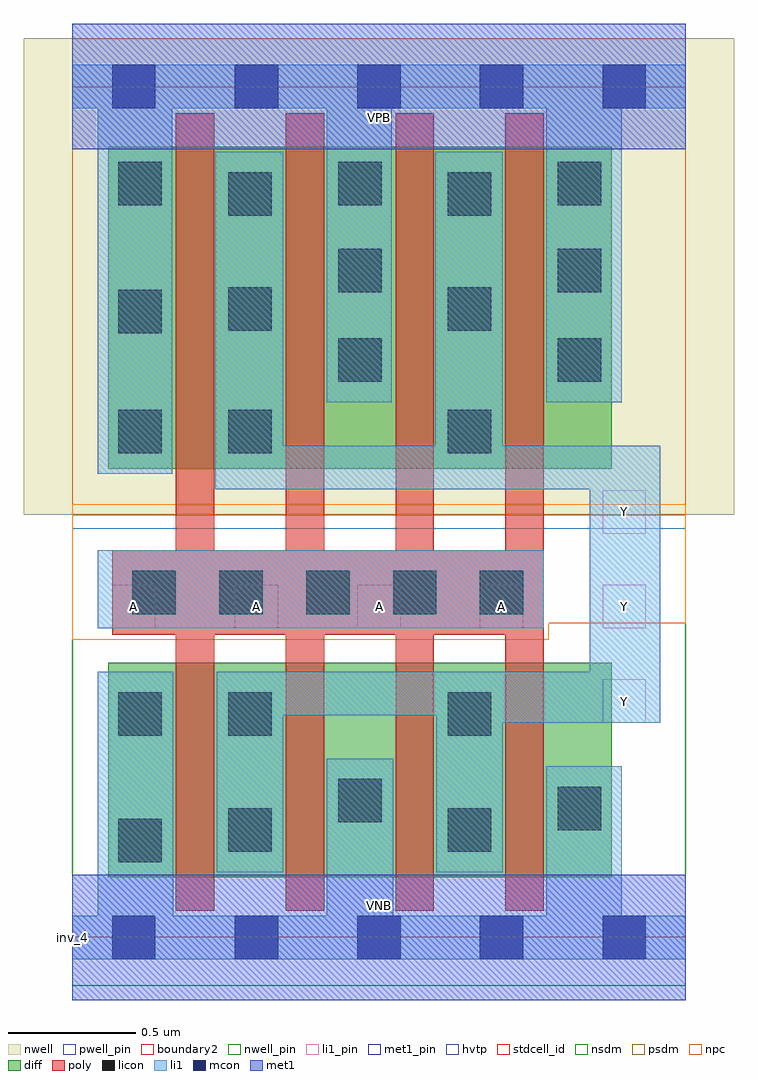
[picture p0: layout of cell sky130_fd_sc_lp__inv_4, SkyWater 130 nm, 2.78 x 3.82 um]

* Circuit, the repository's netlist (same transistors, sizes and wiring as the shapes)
* Copyright 2020 The SkyWater PDK Authors
*
* Licensed under the Apache License, Version 2.0 (the "License");
* you may not use this file except in compliance with the License.
* You may obtain a copy of the License at
*
*     https://www.apache.org/licenses/LICENSE-2.0
*
* Unless required by applicable law or agreed to in writing, software
* distributed under the License is distributed on an "AS IS" BASIS,
* WITHOUT WARRANTIES OR CONDITIONS OF ANY KIND, either express or implied.
* See the License for the specific language governing permissions and
* limitations under the License.
*
* SPDX-License-Identifier: Apache-2.0

.SUBCKT sky130_fd_sc_lp__inv_4 A VGND VNB VPB VPWR Y
*.PININFO A:I VGND:I VNB:I VPB:I VPWR:I Y:O
MMIP1 Y A VPWR VPB sky130_fd_pr__pfet_01v8_hvt m=4 w=1.26U l=0.15U mult=1 sa=0.265
+ sb=0.265 sd=0.28 area=0.063 perim=1.14
MMIN1 Y A VGND VNB sky130_fd_pr__nfet_01v8 m=4 w=0.84U l=0.15U mult=1 sa=0.265
+ sb=0.265 sd=0.28 area=0.063 perim=1.14
.ENDS sky130_fd_sc_lp__inv_4

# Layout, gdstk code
import gdstk
lib = gdstk.Library(unit=1e-6, precision=1e-09)
def R(c, l, rs):  # rectangles x0, y0, x1, y1
    for r in rs: c.add(gdstk.rectangle(r[:2], r[2:], *l))
def A(c, l, x, y, w, h, nx, ny, dx, dy):  # array of equal rectangles
    R(c, l, [(x+i*dx, y+j*dy, x+i*dx+w, y+j*dy+h) for i in range(nx) for j in range(ny)])
def P(c, l, *ps):  # polygons
    for p in ps: c.add(gdstk.Polygon(p, *l))
nwell_pin = (64, 16)
nwell = (64, 20)
diff = (65, 20)
poly = (66, 20)
licon = (66, 44)
li1_pin = (67, 16)
li1 = (67, 20)
mcon = (67, 44)
met1_pin = (68, 16)
met1 = (68, 20)
hvtp = (78, 44)
stdcell_id = (81, 4)
nsdm = (93, 44)
psdm = (94, 20)
npc = (95, 20)
pwell_pin = (122, 16)
boundary2 = (236, 0)

sky130_fd_sc_lp__inv_4 = lib.new_cell('sky130_fd_sc_lp__inv_4')
R(sky130_fd_sc_lp__inv_4, nwell_pin, [(0,3.085,2.4,3.33)])
R(sky130_fd_sc_lp__inv_4, nwell, [(-0.19,1.655,2.59,3.52)])
R(sky130_fd_sc_lp__inv_4, diff, [(0.14,0.235,2.11,1.075), (0.14,1.835,2.11,3.095)])
P(sky130_fd_sc_lp__inv_4, poly, [(1.845,3.225),(1.695,3.225),(1.695,1.515),(1.415,1.515),(1.415,3.225),(1.265,3.225),(1.265,1.515),(0.985,1.515),(0.985,3.225),(0.835,3.225),(0.835,1.515),(0.555,1.515),(0.555,3.225),(0.405,3.225),(0.405,1.515),(0.155,1.515),(0.155,1.185),(0.405,1.185),(0.405,0.105),(0.555,0.105),(0.555,1.185),(0.835,1.185),(0.835,0.105),(0.985,0.105),(0.985,1.185),(1.265,1.185),(1.265,0.105),(1.415,0.105),(1.415,1.185),(1.695,1.185),(1.695,0.105),(1.845,0.105)])
A(sky130_fd_sc_lp__inv_4, licon, 0.235, 1.265, 0.17, 0.17, 5, 1, 0.34, 0)
A(sky130_fd_sc_lp__inv_4, licon, 0.18, 2.865, 0.17, 0.17, 3, 1, 0.86, 0)
R(sky130_fd_sc_lp__inv_4, licon, [(0.18,0.295,0.35,0.465), (0.61,0.335,0.78,0.505), (1.47,0.335,1.64,0.505), (1.9,0.42,2.07,0.59), (1.04,0.45,1.21,0.62), (0.18,0.79,0.35,0.96), (0.61,0.79,0.78,0.96), (1.47,0.79,1.64,0.96), (0.18,1.895,0.35,2.065), (0.61,1.895,0.78,2.065), (1.47,1.895,1.64,2.065), (1.04,2.175,1.21,2.345), (1.9,2.175,2.07,2.345), (0.18,2.365,0.35,2.535), (0.61,2.375,0.78,2.545), (1.47,2.375,1.64,2.545), (1.04,2.525,1.21,2.695), (1.9,2.525,2.07,2.695), (0.61,2.825,0.78,2.995), (1.47,2.825,1.64,2.995)])
A(sky130_fd_sc_lp__inv_4, li1_pin, 0.155, 1.21, 0.17, 0.17, 5, 1, 0.48, 0)
R(sky130_fd_sc_lp__inv_4, li1_pin, [(2.075,0.84,2.245,1.01), (2.075,1.58,2.245,1.75)])
R(sky130_fd_sc_lp__inv_4, li1, [(0.1,1.21,1.845,1.515)])
P(sky130_fd_sc_lp__inv_4, li1, [(0.995,2.095),(0.995,3.245),(0.39,3.245),(0.39,1.815),(0.1,1.815),(0.1,3.245),(0,3.245),(0,3.415),(2.4,3.415),(2.4,3.245),(2.15,3.245),(2.15,2.095),(1.855,2.095),(1.855,3.245),(1.25,3.245),(1.25,2.095)],
  [(1.855,0.085),(1.855,0.67),(2.15,0.67),(2.15,0.085),(2.4,0.085),(2.4,-0.085),(0,-0.085),(0,0.085),(0.1,0.085),(0.1,1.04),(0.395,1.04),(0.395,0.085),(0.995,0.085),(0.995,0.7),(1.255,0.7),(1.255,0.085)],
  [(0.825,1.925),(1.42,1.925),(1.42,3.075),(1.685,3.075),(1.685,1.925),(2.3,1.925),(2.3,0.84),(1.685,0.84),(1.685,0.255),(1.425,0.255),(1.425,0.87),(0.825,0.87),(0.825,0.255),(0.565,0.255),(0.565,1.04),(2.025,1.04),(2.025,1.755),(0.56,1.755),(0.56,3.075),(0.825,3.075)])
A(sky130_fd_sc_lp__inv_4, mcon, 0.155, -0.085, 0.17, 0.17, 5, 2, 0.48, 3.33)
R(sky130_fd_sc_lp__inv_4, met1_pin, [(0,0,2.4,0.245), (0,3.085,2.4,3.33)])
R(sky130_fd_sc_lp__inv_4, met1, [(0,-0.245,2.4,0.245), (0,3.085,2.4,3.575)])
R(sky130_fd_sc_lp__inv_4, hvtp, [(0,1.6,2.4,3.33)])
R(sky130_fd_sc_lp__inv_4, stdcell_id, [(0,0,2.4,3.33)])
R(sky130_fd_sc_lp__inv_4, nsdm, [(0,-0.19,2.4,1.655)])
R(sky130_fd_sc_lp__inv_4, psdm, [(0,1.655,2.4,3.52)])
P(sky130_fd_sc_lp__inv_4, npc, [(2.4,1.695),(0,1.695),(0,1.165),(1.865,1.165),(1.865,1.23),(2.4,1.23)])
R(sky130_fd_sc_lp__inv_4, pwell_pin, [(0,0,2.4,0.245)])
R(sky130_fd_sc_lp__inv_4, boundary2, [(0,0,2.4,3.33)])
sky130_fd_sc_lp__inv_4.add(gdstk.Label('VNB', (1.2,0.123), layer=64, texttype=59))
sky130_fd_sc_lp__inv_4.add(gdstk.Label('VPB', (1.2,3.208), layer=64, texttype=5))
sky130_fd_sc_lp__inv_4.add(gdstk.Label('inv_4', (0,0), layer=83, texttype=44))
sky130_fd_sc_lp__inv_4.add(gdstk.Label('VPWR', (1.2,3.208), layer=68, texttype=5))
sky130_fd_sc_lp__inv_4.add(gdstk.Label('VGND', (1.2,0.123), layer=68, texttype=5))
sky130_fd_sc_lp__inv_4.add(gdstk.Label('A', (0.24,1.295), layer=67, texttype=5))
sky130_fd_sc_lp__inv_4.add(gdstk.Label('A', (0.72,1.295), layer=67, texttype=5))
sky130_fd_sc_lp__inv_4.add(gdstk.Label('A', (1.2,1.295), layer=67, texttype=5))
sky130_fd_sc_lp__inv_4.add(gdstk.Label('A', (1.68,1.295), layer=67, texttype=5))
sky130_fd_sc_lp__inv_4.add(gdstk.Label('Y', (2.16,0.925), layer=67, texttype=5))
sky130_fd_sc_lp__inv_4.add(gdstk.Label('Y', (2.16,1.295), layer=67, texttype=5))
sky130_fd_sc_lp__inv_4.add(gdstk.Label('Y', (2.16,1.665), layer=67, texttype=5))

lib.write_gds('sky130_fd_sc_lp__inv_4.gds')
